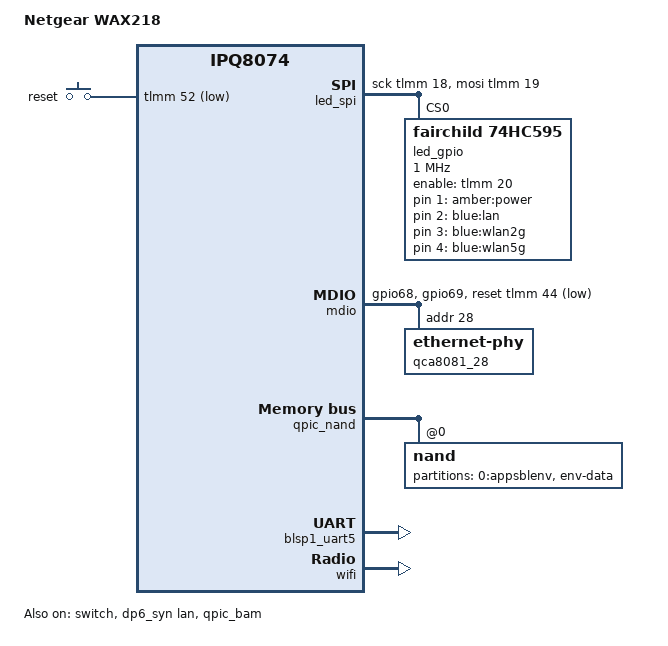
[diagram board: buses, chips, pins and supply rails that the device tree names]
/dts-v1/;

#include "ipq8074.dtsi"
#include "ipq8074-hk-cpu.dtsi"
#include "ipq8074-ess.dtsi"

#include <dt-bindings/input/input.h>
#include <dt-bindings/gpio/gpio.h>

/ {
	model = "Netgear WAX218";
	compatible = "netgear,wax218", "qcom,ipq8074";

	aliases {
		serial0 = &blsp1_uart5;
		led-boot = &led_power_amber;
		led-failsafe = &led_power_amber;
		led-running = &led_power_amber;
		led-upgrade = &led_power_amber;
	};

	chosen {
		stdout-path = "serial0:115200n8";
		/*
		 * Netgear's U-Boot adds "ubi.mtd=rootfs root=mtd:ubi_rootfs"
		 * That fails to create a UBI block device, so add it here.
		*/
		bootargs-append = " ubi.block=0,rootfs root=/dev/ubiblock0_1";
	};

	keys {
		compatible = "gpio-keys";

		reset {
			label = "reset";
			gpios = <&tlmm 52 GPIO_ACTIVE_LOW>;
			linux,code = <KEY_RESTART>;
		};
	};

	led_spi {
		compatible = "spi-gpio";
		#address-cells = <1>;
		#size-cells = <0>;

		sck-gpios = <&tlmm 18 GPIO_ACTIVE_HIGH>;
		mosi-gpios = <&tlmm 19 GPIO_ACTIVE_HIGH>;

		led_gpio: led_gpio@0 {
			compatible = "fairchild,74hc595";
			reg = <0>;
			gpio-controller;
			#gpio-cells = <2>;
			registers-number = <1>;
			enable-gpios = <&tlmm 20 GPIO_ACTIVE_HIGH>;
			spi-max-frequency = <1000000>;
		};
	};

	leds {
		compatible = "gpio-leds";

		led_power_amber: led_power {
			label = "amber:power";
			gpios = <&led_gpio 1 GPIO_ACTIVE_HIGH>;
		};

		led_lan {
			label = "blue:lan";
			gpios = <&led_gpio 2 GPIO_ACTIVE_HIGH>;
		};

		led_wlan_2g {
			label = "blue:wlan2g";
			gpios = <&led_gpio 3 GPIO_ACTIVE_HIGH>;
		};

		led_wlan_5g {
			label = "blue:wlan5g";
			gpios = <&led_gpio 4 GPIO_ACTIVE_HIGH>;
		};
	};
};

&edma {
	status = "okay";
};

&switch {
	status = "okay";

	switch_cpu_bmp = <0x1>;
	switch_lan_bmp = <0x3e>;
	switch_wan_bmp = <0x40>;
	switch_mac_mode = <0x00>;
	switch_mac_mode1 = <0xff>;
	switch_mac_mode2 = <0x0f>;
	bm_tick_mode = <0>;
	tm_tick_mode = <0>;

	qcom,port_phyinfo {
		port@5 {
			port_id = <6>;
			phy_address = <28>;
			port_mac_sel = "QGMAC_PORT";
		};
	};
};

&tlmm {
	mdio_pins: mdio-pins {
		mdc {
			pins = "gpio68";
			function = "mdc";
			drive-strength = <8>;
			bias-pull-up;
		};

		mdio {
			pins = "gpio69";
			function = "mdio";
			drive-strength = <8>;
			bias-pull-up;
		};
	};
};

&mdio {
	status = "okay";

	pinctrl-0 = <&mdio_pins>;
	pinctrl-names = "default";
	reset-gpios = <&tlmm 44 GPIO_ACTIVE_LOW>;

	qca8081_28: ethernet-phy@28 {
		reg = <28>;
	};
};

&dp6_syn {
	status = "okay";
	phy-handle = <&qca8081_28>;
	label = "lan";
	nvmem-cells = <&macaddr_ubootenv_ethaddr>;
	nvmem-cell-names = "mac-address";
};

&qpic_bam {
	status = "okay";
};

&qpic_nand {
	status = "okay";

	nand@0 {
		reg = <0>;
		nand-ecc-strength = <4>;
		nand-ecc-step-size = <512>;
		nand-bus-width = <8>;

		partitions {
			compatible = "qcom,smem-part";

			partition-0-appsblenv {
				compatible = "fixed-partitions";
				label = "0:appsblenv";
				read-only;
				#address-cells = <1>;
				#size-cells = <1>;

				partition@0 {
					compatible = "u-boot,env";
					label = "env-data";
					reg = <0x0 0x40000>;

					macaddr_ubootenv_ethaddr: ethaddr {};
				};
			};
		};
	};
};

&blsp1_uart5 {
	status = "okay";
};

&wifi {
	status = "okay";

	qcom,ath11k-calibration-variant = "Netgear-WAX218";
};
